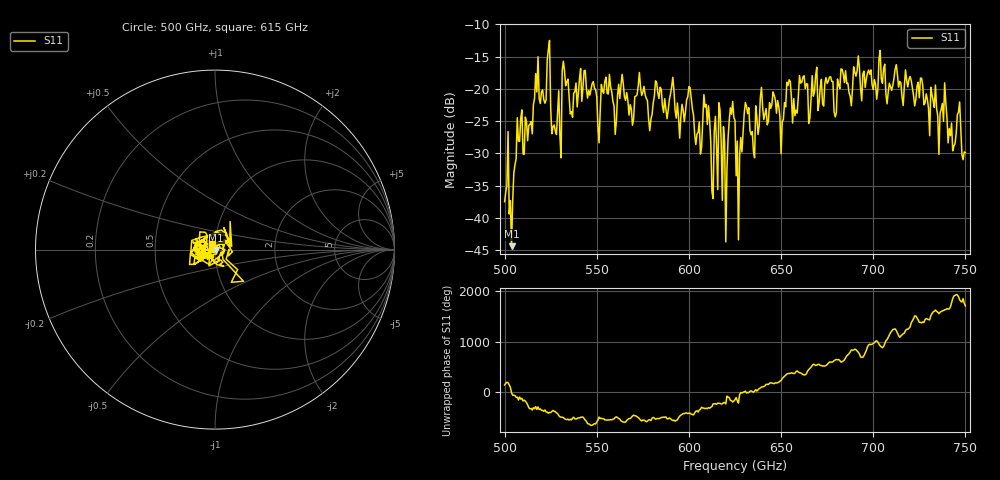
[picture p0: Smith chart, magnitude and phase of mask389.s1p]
!Created with skrf (http://scikit-rf.org).
# GHz S MA R 50.0
!freq magS11 angS11
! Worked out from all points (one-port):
!   401 points, 500 GHz to 750 GHz, reference 50 ohm
!   lowest |S11| = -44.4 dB at 503.8 GHz (marker M1), VSWR 1.01, Z = 50.6 - j0.132 ohm
!   |S11| at or under -10 dB: start of sweep to end of sweep
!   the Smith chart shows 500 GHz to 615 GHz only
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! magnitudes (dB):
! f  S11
! 500 GHz  -37.5
! 503.8 GHz  -44.4
! 508.1 GHz  -28.1
! 513.8 GHz  -25.5
! 516.9 GHz  -17.6
! 523.8 GHz  -13.8
! 526.9 GHz  -25.6
! 531.2 GHz  -17.2
! 562.5 GHz  -21.5
! 593.8 GHz  -22.2
! 600 GHz  -19.6
! 605.6 GHz  -25.1
! 609.4 GHz  -22.4
! 612.5 GHz  -35.9
! 617.5 GHz  -28.2
! 619.4 GHz  -28.4
! 622.5 GHz  -22.9
! 625 GHz  -24.9
! 626.9 GHz  -43.4
! 631.2 GHz  -22.7
! 634.4 GHz  -26.6
! 640 GHz  -22.9
! 656.2 GHz  -25.3
! 687.5 GHz  -21.1
! 718.8 GHz  -19.7
! 743.1 GHz  -29.6
! 746.2 GHz  -23.6
! 750 GHz  -29.9
